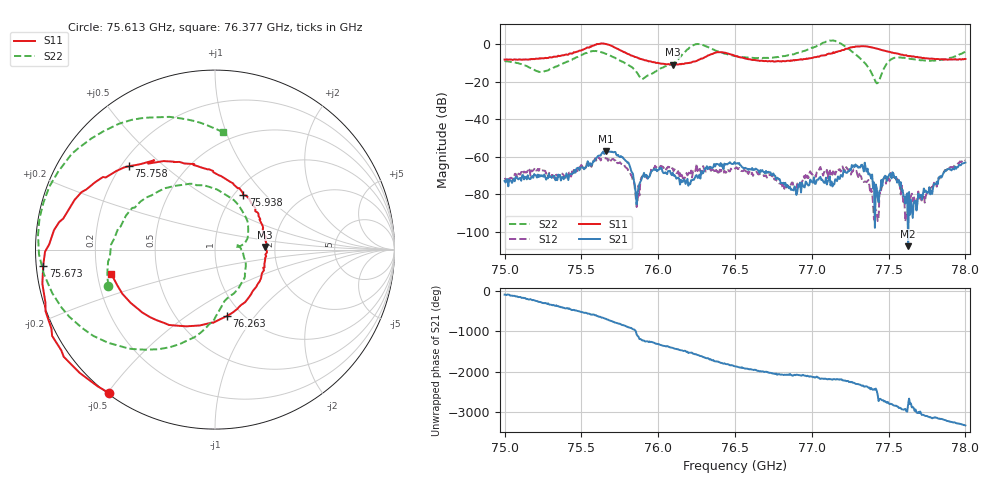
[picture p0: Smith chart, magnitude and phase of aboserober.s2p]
# Hz S MA R 50
! CMT, C4420, 21421029, 25.1.2/3
! Date: 8/4/2025 4:30:58 PM
! Data: Format (Calibration Info)
! Freq	S33:Mag/Ang(F2)	S43:Mag/Ang(F2)	S34:Mag/Ang(F2)	S44:Mag/Ang(F2)
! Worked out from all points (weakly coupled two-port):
!   500 points, 75 GHz to 78 GHz, reference 50 ohm
!   highest |S21| = -56.88 dB at 75.661 GHz (marker M1); lowest = -107.6 dB at 77.627 GHz (marker M2)
!   lowest |S11| = -11.0 dB at 76.094 GHz (marker M3), VSWR 1.78, Z = 88.9 + j2.9 ohm
!   |S11| at or under -10 dB: 75.98288 GHz to 76.20934 GHz (226.5 MHz wide, 0.298 % of centre)
!   |S22| runs from -20.9 to 1.8 dB; largest |S21 - S12| = 0.00066
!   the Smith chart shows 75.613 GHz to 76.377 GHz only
!   S11 on the Smith chart (normalised r, x): 75.613 GHz: 0.00, -0.50; 75.673 GHz: 0.02, -0.05; 75.758 GHz: 0.23, +0.39; 75.938 GHz: 1.10, +0.76; 76.263 GHz: 0.85, -0.73; 76.377 GHz: 0.26, -0.11
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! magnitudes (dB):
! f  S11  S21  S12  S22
! 75 GHz  -8.3  -72.9  -71.4  -9.1
! 75.24 GHz  -7.6  -69.8  -67.3  -14.8
! 75.505 GHz  -3.2  -65.7  -65.0  -5.7
! 75.613 GHz  -0.1  -59.4  -60.5  -4.1
! 75.661 GHz  -0.1  -56.9  -60.9  -5.3
! 75.673 GHz  -0.3  -57.6  -62.2  -5.7
! 75.758 GHz  -3.5  -59.6  -63.7  -9.1
! 75.86 GHz  -7.2  -85.4  -86.7  -15.1
! 75.938 GHz  -9.3  -70.8  -69.3  -16.7
! 76.004 GHz  -10.3  -67.0  -66.5  -13.5
! 76.094 GHz  -11.0  -68.5  -66.1  -10.6
! 76.263 GHz  -8.5  -71.0  -65.9  -0.1
! 76.377 GHz  -4.5  -63.8  -67.0  -3.7
! 76.503 GHz  -6.5  -63.8  -66.3  -6.5
! 76.822 GHz  -9.2  -74.8  -77.1  -6.5
! 77.002 GHz  -7.5  -73.5  -69.4  -1.9
! 77.146 GHz  -4.8  -74.7  -66.9  1.6
! 77.333 GHz  -1.2  -65.9  -72.1  -9.0
! 77.423 GHz  -2.5  -76.7  -89.2  -20.9
! 77.501 GHz  -4.2  -70.2  -71.8  -9.2
! 77.627 GHz  -6.4  -107.6  -84.8  -7.7
! 78 GHz  -8.0  -63.1  -62.1  -4.1
